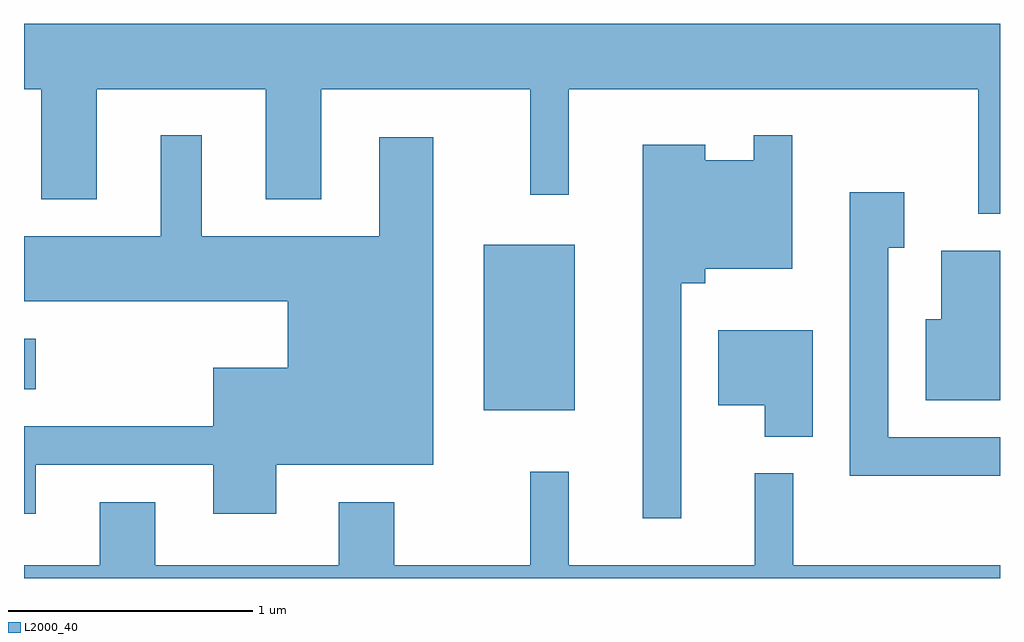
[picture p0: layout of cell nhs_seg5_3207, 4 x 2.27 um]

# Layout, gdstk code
import gdstk
lib = gdstk.Library(unit=1e-6, precision=1e-09)
def R(c, l, rs):  # rectangles x0, y0, x1, y1
    for r in rs: c.add(gdstk.rectangle(r[:2], r[2:], *l))
def P(c, l, *ps):  # polygons
    for p in ps: c.add(gdstk.Polygon(p, *l))
L2000_40 = (2000, 40)

nhs_seg5_3207 = lib.new_cell('nhs_seg5_3207')
R(nhs_seg5_3207, L2000_40, [(281.496,1508.761,281.869,1509.439), (279.611,1508.846,279.659,1509.054)])
P(nhs_seg5_3207, L2000_40, [(283.611,1510.344),(279.611,1510.344),(279.611,1510.076),(279.681,1510.076),(279.681,1509.626),(279.909,1509.626),(279.909,1510.076),(280.601,1510.076),(280.601,1509.626),(280.829,1509.626),(280.829,1510.076),(281.686,1510.076),(281.686,1509.643),(281.844,1509.643),(281.844,1510.076),(283.521,1510.076),(283.521,1509.566),(283.611,1509.566)],
  [(282.304,1509.281),(282.404,1509.281),(282.404,1509.341),(282.759,1509.341),(282.759,1509.888),(282.601,1509.888),(282.601,1509.784),(282.404,1509.784),(282.404,1509.849),(282.146,1509.849),(282.146,1508.318),(282.304,1508.318)],
  [(279.659,1508.536),(280.386,1508.536),(280.386,1508.336),(280.644,1508.336),(280.644,1508.536),(281.289,1508.536),(281.289,1509.879),(281.066,1509.879),(281.066,1509.474),(280.339,1509.474),(280.339,1509.888),(280.171,1509.888),(280.171,1509.474),(279.611,1509.474),(279.611,1509.206),(280.691,1509.206),(280.691,1508.934),(280.386,1508.934),(280.386,1508.694),(279.611,1508.694),(279.611,1508.336),(279.659,1508.336)],
  [(283.611,1508.649),(283.154,1508.649),(283.154,1509.426),(283.219,1509.426),(283.219,1509.654),(282.996,1509.654),(282.996,1508.491),(283.611,1508.491)],
  [(283.611,1509.414),(283.371,1509.414),(283.371,1509.134),(283.306,1509.134),(283.306,1508.801),(283.611,1508.801)],
  [(282.844,1509.089),(282.456,1509.089),(282.456,1508.781),(282.646,1508.781),(282.646,1508.651),(282.844,1508.651)],
  [(283.611,1508.124),(282.764,1508.124),(282.764,1508.503),(282.606,1508.503),(282.606,1508.124),(281.844,1508.124),(281.844,1508.508),(281.686,1508.508),(281.686,1508.124),(281.129,1508.124),(281.129,1508.384),(280.901,1508.384),(280.901,1508.124),(280.149,1508.124),(280.149,1508.384),(279.921,1508.384),(279.921,1508.124),(279.611,1508.124),(279.611,1508.072),(283.611,1508.072)])

lib.write_gds('nhs_seg5_3207.gds')
